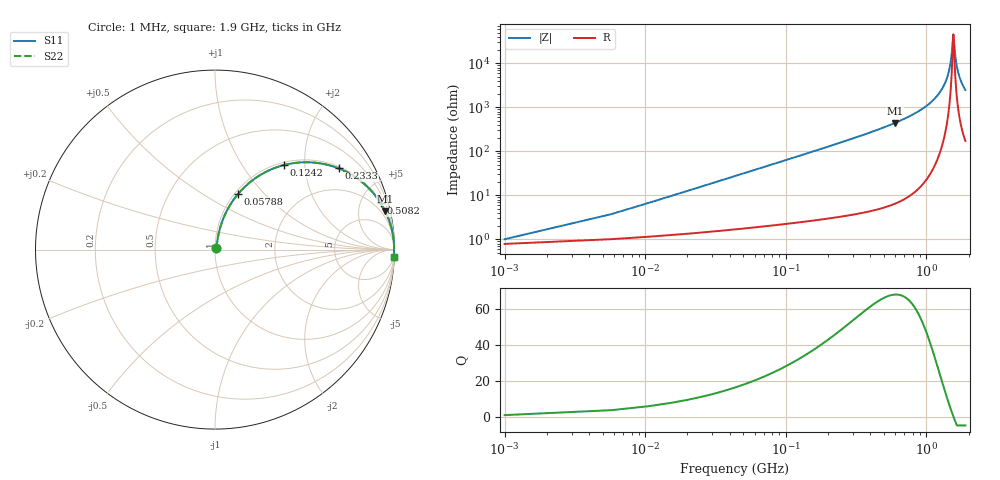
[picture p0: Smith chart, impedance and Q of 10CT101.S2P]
! Coilcraft 1008CT-101 Chip Inductor
! 17 July 2002
# MHZ S MA R 50
!Freq  MagS11  AngS11  MagS21  AngS21  MagS12  AngS12  MagS22  AngS22
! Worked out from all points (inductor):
!   402 points, 1 MHz to 1.9 GHz, reference 50 ohm
!   read as one part in series: L = 100 nH near 10.48 MHz
!   highest Q = 68.3 at 598.2 MHz (marker M1), where L = 117 nH
!   self-resonance near 1.56 GHz
!   S11 on the Smith chart (normalised r, x): 1 MHz: 1.02, +0.01; 57.88 MHz: 1.04, +0.73; 124.2 MHz: 1.05, +1.57; 233.3 MHz: 1.06, +3.00; 508.2 MHz: 1.11, +7.14; 1.9 GHz: 4, -49
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1  0.01001 38.1  0.9921 -0.4  0.9921 -0.4  0.01001 38.1
15.22  0.09484 77.1  0.9832 -5.4  0.9832 -5.4  0.09484 77.1
19.96  0.1235 76.8  0.9793 -7.1  0.9793 -7.1  0.1235 76.8
34.18  0.2075 73.9  0.9633 -11.9  0.9633 -11.9  0.2075 73.9
57.88  0.3371 67.4  0.9245 -19.7  0.9245 -19.7  0.3371 67.4
124.24  0.6088 50.7  0.7746 -37.5  0.7746 -37.5  0.6088 50.7
233.26  0.8239 33.3  0.5495 -55.5  0.5495 -55.5  0.8239 33.3
318.58  0.8957 25.4  0.4288 -63.6  0.4288 -63.6  0.8957 25.4
508.18  0.9592 15.6  0.2685 -73.6  0.2685 -73.6  0.9592 15.6
598.24  0.9721 12.7  0.2206 -76.4  0.2206 -76.4  0.9721 12.7
636.16  0.9761 11.7  0.2036 -77.4  0.2036 -77.4  0.9761 11.7
953.74  0.9926 6.0  0.1038 -82.9  0.1038 -82.9  0.9926 6.0
1271.32  0.9972 2.4  0.04205 -85.0  0.04205 -85.0  0.9972 2.4
1380.34  0.9977 1.4  0.02514 -84.0  0.02514 -84.0  0.9977 1.4
1460.92  0.9978 0.8  0.01362 -80.4  0.01362 -80.4  0.9978 0.8
1508.32  0.9978 0.4  0.007281 -72.5  0.007281 -72.5  0.9978 0.4
1555.72  0.9978 0.0  0.002303 -16.7  0.002303 -16.7  0.9978 0.0
1565.2  0.9978 -0.0  0.002291 14.5  0.002291 14.5  0.9978 -0.0
1584.16  0.9978 -0.2  0.003765 53.2  0.003765 53.2  0.9978 -0.2
1626.82  0.9977 -0.5  0.00874 74.2  0.00874 74.2  0.9977 -0.5
1688.44  0.9975 -0.9  0.01618 80.5  0.01618 80.5  0.9975 -0.9
1900  0.9964 -2.3  0.0403 83.7  0.0403 83.7  0.9964 -2.3
